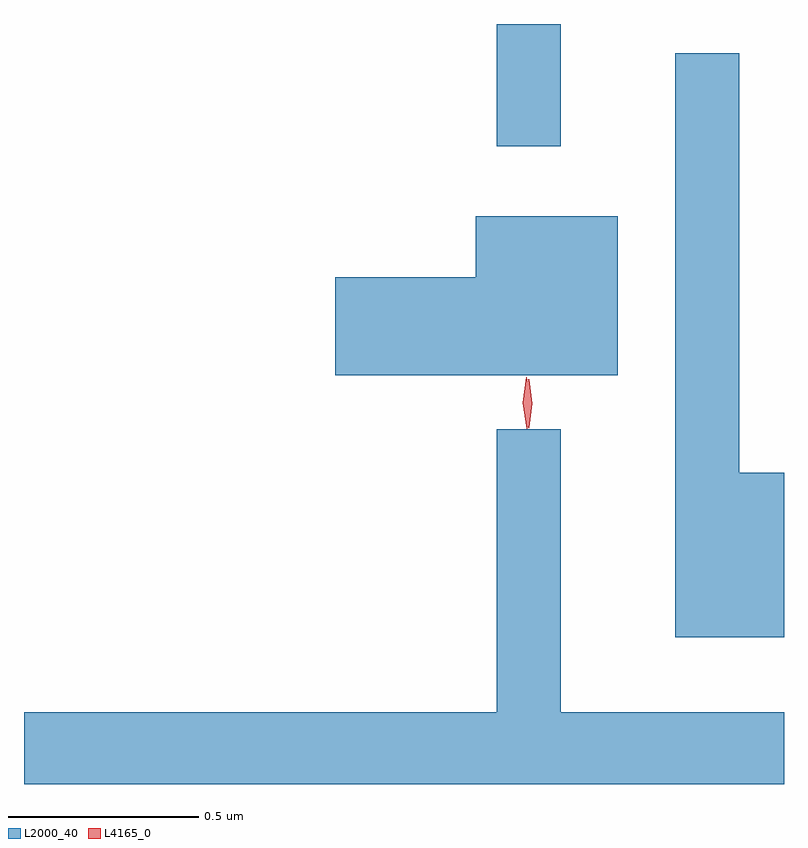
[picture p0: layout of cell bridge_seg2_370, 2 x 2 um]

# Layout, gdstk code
import gdstk
lib = gdstk.Library(unit=1e-6, precision=1e-09)
def R(c, l, rs):  # rectangles x0, y0, x1, y1
    for r in rs: c.add(gdstk.rectangle(r[:2], r[2:], *l))
def P(c, l, *ps):  # polygons
    for p in ps: c.add(gdstk.Polygon(p, *l))
L2000_40 = (2000, 40)
L4165_0 = (4165, 0)

bridge_seg2_370 = lib.new_cell('bridge_seg2_370')
R(bridge_seg2_370, L2000_40, [(304.521,1014.553,304.689,1014.875)])
P(bridge_seg2_370, L2000_40, [(305.277,1013.694),(305.159,1013.694),(305.159,1014.798),(304.991,1014.798),(304.991,1013.261),(305.277,1013.261)],
  [(304.839,1014.369),(304.466,1014.369),(304.466,1014.209),(304.096,1014.209),(304.096,1013.951),(304.839,1013.951)],
  [(305.277,1013.064),(304.689,1013.064),(304.689,1013.808),(304.521,1013.808),(304.521,1013.064),(303.277,1013.064),(303.277,1012.875),(305.277,1012.875)])
P(bridge_seg2_370, L4165_0, [(304.604,1013.813),(304.595,1013.876),(304.604,1013.94),(304.605,1013.94),(304.606,1013.94),(304.615,1013.876),(304.606,1013.813),(304.605,1013.813)],
  [(304.6,1013.81),(304.6,1013.81),(304.59,1013.878),(304.599,1013.945),(304.6,1013.946),(304.6,1013.945),(304.61,1013.878),(304.601,1013.81)])

lib.write_gds('bridge_seg2_370.gds')
